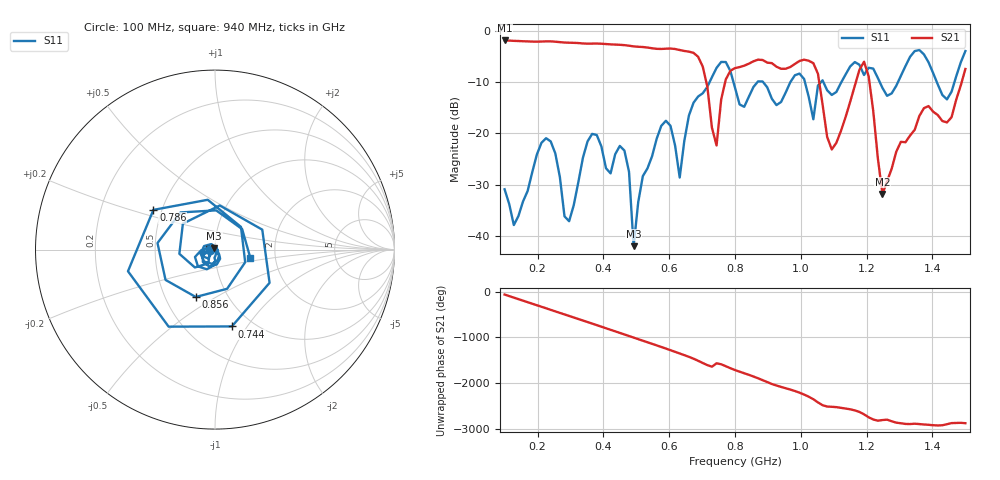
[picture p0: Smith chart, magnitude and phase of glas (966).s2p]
! NanoVNA-App
! Date: 2025-09-25 16:02:59
! Start: 100MHz Stop: 1,5GHz Points: 101
! S-Parameter data: F S11 S21 S12 S22
# Hz S RI R 50
!  Frequency  S11_Real  S11_Imag  S21_Real  S21_Imag  S12_Real  S12_Imag  S22_Real  S22_Imag
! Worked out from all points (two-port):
!   101 points, 100 MHz to 1.5 GHz, reference 50 ohm
!   highest |S21| = -1.80 dB at 100 MHz (marker M1); lowest = -31.8 dB at 1.248 GHz (marker M2)
!   |S21| within 3 dB of the highest: start of sweep to 684.5 MHz
!   lowest |S11| = -42.0 dB at 492 MHz (marker M3), VSWR 1.02, Z = 49.5 + j0.621 ohm
!   |S11| at or under -10 dB: start of sweep to 722.5 MHz; 795.5 MHz to 867.6 MHz (72.03 MHz wide, 8.66 % of centre); 886.1 MHz to 967.8 MHz (81.71 MHz wide, 8.82 % of centre) (the widest 3 of 7)
!   S12 and S22 are empty: the file has one direction only
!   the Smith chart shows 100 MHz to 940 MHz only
!   S11 on the Smith chart (normalised r, x): 100 MHz: 0.94, -0.01; 744 MHz: 0.80, -0.85; 786 MHz: 0.45, +0.24; 856 MHz: 0.71, -0.41; 940 MHz: 1.48, -0.15
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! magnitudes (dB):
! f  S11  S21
! 100 MHz  -30.9  -1.8
! 128 MHz  -37.9  -1.9
! 226 MHz  -20.9  -2.0
! 296 MHz  -37.2  -2.2
! 338 MHz  -24.7  -2.4
! 464 MHz  -23.3  -2.7
! 492 MHz  -42.0  -3.0
! 576 MHz  -18.5  -3.5
! 632 MHz  -28.6  -3.7
! 702 MHz  -12.1  -6.9
! 744 MHz  -7.2  -22.3
! 786 MHz  -7.8  -7.7
! 800 MHz  -11.0  -7.2
! 856 MHz  -10.9  -5.9
! 940 MHz  -13.8  -7.3
! 996 MHz  -8.3  -5.8
! 1.038 GHz  -17.2  -6.2
! 1.094 GHz  -12.5  -23.1
! 1.192 GHz  -8.6  -6.0
! 1.248 GHz  -11.1  -31.8
! 1.276 GHz  -12.2  -26.9
! 1.5 GHz  -3.9  -7.4
